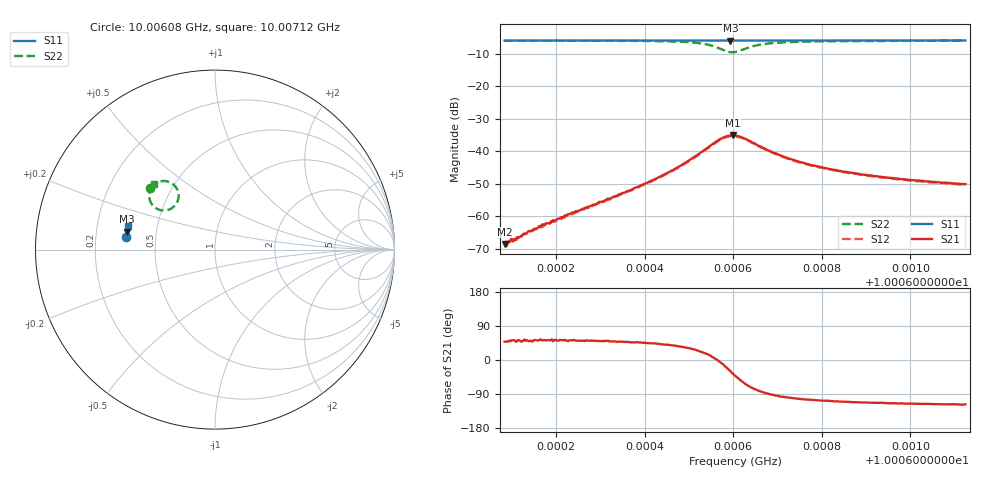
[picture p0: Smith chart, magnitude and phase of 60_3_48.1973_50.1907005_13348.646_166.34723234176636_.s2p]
#  HZ  S  RI  R  50.00
! Rohde & Schwarz Vector Network Analyzer
! Rohde-Schwarz,ZNB20-2Port,1311601062101988,3.16
! Created: UTC 3/20/2024, 11:38:44 AM
! freq[Hz]  re:S11  im:S11  re:S21  im:S21  re:S12  im:S12  re:S22  im:S22
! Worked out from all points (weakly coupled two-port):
!   401 points, 10.00608 GHz to 10.00712 GHz, reference 50 ohm
!   highest |S21| = -35.05 dB at 10.0066 GHz (marker M1); lowest = -68.6 dB at 10.00608 GHz (marker M2)
!   lowest |S11| = -6.0 dB at 10.00659 GHz (marker M3), VSWR 3.01, Z = 16.8 + j4.48 ohm
!   |S11| at or under -10 dB: nowhere
!   |S22| runs from -9.6 to -6.0 dB; largest |S21 - S12| = 0.0012
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1.0006084e10  -0.4971 0.0678  0.000247 0.000276  0.000245 0.000275  -0.362 0.3433
1.0006094e10  -0.497 0.0685  0.000245 0.000306  0.00022 0.000333  -0.3612 0.3442
1.0006107e10  -0.4968 0.0693  0.000273 0.000343  0.000286 0.00035  -0.3603 0.3451
1.000613e10  -0.4968 0.0709  0.000337 0.000406  0.000327 0.000423  -0.3587 0.347
1.0006146e10  -0.4966 0.0719  0.000392 0.000444  0.000348 0.000502  -0.3576 0.348
1.0006172e10  -0.4965 0.0736  0.000446 0.000579  0.000419 0.000574  -0.3555 0.3502
1.0006258e10  -0.4957 0.0792  0.000797 0.000989  0.000737 0.001  -0.3477 0.3573
1.000637e10  -0.4947 0.0864  0.00174 0.00183  0.00159 0.00191  -0.3319 0.3689
1.0006432e10  -0.4939 0.0906  0.00294 0.00269  0.00275 0.00277  -0.316 0.3767
1.0006484e10  -0.4931 0.0941  0.00508 0.0035  0.00479 0.00365  -0.2916 0.3821
1.0006536e10  -0.4922 0.0975  0.0101 0.00328  0.00964 0.00365  -0.2429 0.3706
1.0006573e10  -0.4912 0.0995  0.0154 -0.00204  0.0151 -0.00137  -0.2034 0.3097
1.0006593e10  -0.4907 0.1001  0.0152 -0.00842  0.0151 -0.00767  -0.2194 0.2504
1.0006599e10  -0.4908 0.1002  0.0144 -0.0103  0.0143 -0.00908  -0.2307 0.2381
1.0006604e10  -0.4908 0.1003  0.013 -0.0115  0.0134 -0.0104  -0.2438 0.2288
1.0006625e10  -0.4911 0.1013  0.00757 -0.0137  0.00808 -0.0131  -0.3001 0.2194
1.0006661e10  -0.4913 0.1037  0.00154 -0.0117  0.00202 -0.0114  -0.3526 0.254
1.0006713e10  -0.491 0.1074  -0.00106 -0.00816  -0.000624 -0.00807  -0.3666 0.2955
1.0006778e10  -0.4903 0.1117  -0.0016 -0.00586  -0.00129 -0.0058  -0.3639 0.3219
1.0006843e10  -0.4896 0.116  -0.00166 -0.00464  -0.00141 -0.0046  -0.3586 0.3367
1.0006952e10  -0.4881 0.123  -0.00157 -0.00354  -0.00142 -0.00354  -0.3501 0.3518
1.0007124e10  -0.4856 0.1337  -0.00141 -0.00276  -0.00129 -0.00273  -0.3387 0.3666
